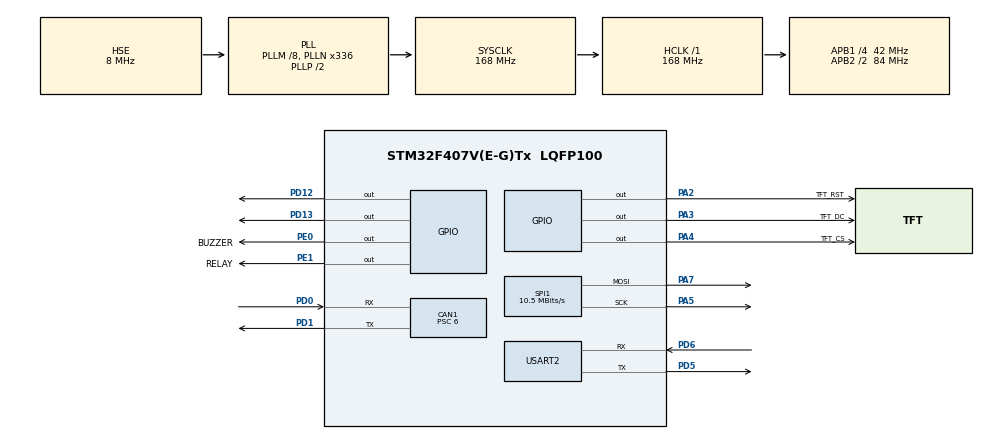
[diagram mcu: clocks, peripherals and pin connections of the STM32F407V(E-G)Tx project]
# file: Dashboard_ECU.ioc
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CAN1.ABOM=ENABLE
CAN1.BS1=CAN_BS1_11TQ
CAN1.BS2=CAN_BS2_2TQ
CAN1.CalculateBaudRate=500000
CAN1.CalculateTimeBit=2000
CAN1.CalculateTimeQuantum=142.85714285714286
CAN1.NART=ENABLE
CAN1.Prescaler=6
FREERTOS.Tasks01=TFTTask,24,512,StartDefaultTask,Default,NULL,Dynamic,NULL,NULL;ThreshTask,32,256,Task_ThresholdCheck,Default,NULL,Dynamic,NULL,NULL;BuzzTask,32,512,Task_BuzzerHandler,Default,NULL,Dynamic,NULL,NULL
Mcu.Family=STM32F4
Mcu.Name=STM32F407V(E-G)Tx
Mcu.Package=LQFP100
NVIC.CAN1_RX0_IRQn=true\:5\:0\:false\:false\:true\:true\:true\:true\:true
NVIC.PriorityGroup=NVIC_PRIORITYGROUP_4
PA13.Mode=Serial_Wire
PA13.Signal=SYS_JTMS-SWDIO
PA14.Mode=Serial_Wire
PA14.Signal=SYS_JTCK-SWCLK
PA2.GPIO_Label=TFT_RST
PA2.Signal=GPIO_Output
PA3.GPIO_Label=TFT_DC
PA3.Signal=GPIO_Output
PA4.GPIO_Label=TFT_CS
PA4.Signal=GPIO_Output
PA5.Mode=TX_Only_Simplex_Unidirect_Master
PA5.Signal=SPI1_SCK
PA7.Mode=TX_Only_Simplex_Unidirect_Master
PA7.Signal=SPI1_MOSI
PD0.Mode=CAN_Activate
PD0.Signal=CAN1_RX
PD1.Mode=CAN_Activate
PD1.Signal=CAN1_TX
PD12.Signal=GPIO_Output
PD13.Signal=GPIO_Output
PD5.Mode=Asynchronous
PD5.Signal=USART2_TX
PD6.Mode=Asynchronous
PD6.Signal=USART2_RX
PE0.GPIO_Label=BUZZER
PE0.Signal=GPIO_Output
PE1.GPIO_Label=RELAY
PE1.Signal=GPIO_Output
PH0-OSC_IN.Mode=HSE-External-Oscillator
PH0-OSC_IN.Signal=RCC_OSC_IN
PH1-OSC_OUT.Mode=HSE-External-Oscillator
PH1-OSC_OUT.Signal=RCC_OSC_OUT
ProjectManager.HeapSize=0x200
ProjectManager.StackSize=0x400
ProjectManager.TargetToolchain=STM32CubeIDE
RCC.48MHZClocksFreq_Value=48000000
RCC.AHBFreq_Value=168000000
RCC.APB1CLKDivider=RCC_HCLK_DIV4
RCC.APB1Freq_Value=42000000
RCC.APB1TimFreq_Value=84000000
RCC.APB2CLKDivider=RCC_HCLK_DIV2
RCC.APB2Freq_Value=84000000
RCC.APB2TimFreq_Value=168000000
RCC.CortexFreq_Value=168000000
RCC.HCLKFreq_Value=168000000
RCC.HSE_VALUE=8000000
RCC.HSI_VALUE=16000000
RCC.LSE_VALUE=32768
RCC.PLLM=8
RCC.PLLN=336
RCC.PLLQ=7
RCC.PLLSourceVirtual=RCC_PLLSOURCE_HSE
RCC.SYSCLKFreq_VALUE=168000000
RCC.SYSCLKSource=RCC_SYSCLKSOURCE_PLLCLK
RCC.VCOOutputFreq_Value=336000000
SPI1.BaudRatePrescaler=SPI_BAUDRATEPRESCALER_8
SPI1.CalculateBaudRate=10.5 MBits/s
SPI1.Direction=SPI_DIRECTION_2LINES
SPI1.Mode=SPI_MODE_MASTER
SPI1.VirtualType=VM_MASTER
USART2.VirtualMode=VM_ASYNC
VP_FREERTOS_VS_CMSIS_V2.Mode=CMSIS_V2
board=STM32F407G-DISC1

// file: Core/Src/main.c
/* USER CODE BEGIN Header */
/**
  ******************************************************************************
  * @file           : main.c
  * @brief          : Dashboard ECU — Board 2 — STM32F407 Discovery
  * Version 2.2 - Fixed Linker Conflict (Multiple Definition Error)
  ******************************************************************************
  */
/* USER CODE END Header */

#include "main.h"
#include "cmsis_os.h"
#include "can.h"
#include "spi.h"
#include "usart.h"
#include "gpio.h"

/* USER CODE BEGIN Includes */
#include <stdio.h>
#include <string.h>
#include "st7735.h"
#include "fonts.h"
/* USER CODE END Includes */

/* USER CODE BEGIN PV */
volatile uint16_t rxRPM     = 0;
volatile uint8_t  rxSpeed   = 0;
volatile float    rxTemp    = 0.0f;
volatile uint8_t  rxRelay   = 0;
volatile uint8_t  faultCode = 0;
volatile uint8_t  frameCount = 0;

osThreadId_t tftTaskHandle;
osThreadId_t thresholdTaskHandle;
osThreadId_t buzzerTaskHandle;

volatile uint8_t buzzerFlag  = 0;
volatile uint8_t buzzerBeeps = 0;

char dtcString[20] = "NONE";
char statusString[20] = "NORMAL";
/* USER CODE END PV */

void SystemClock_Config(void);
void MX_FREERTOS_Init(void);

/* Renamed to avoid conflicts with freertos.c generated by CubeMX */
void User_Task_TFT_Update(void *argument);
void User_Task_ThresholdCheck(void *argument);
void User_Task_BuzzerHandler(void *argument);

void TFT_DrawDashboard(void);
void TFT_UpdateValues(void);
void UART_Log(char *msg);

/* USER CODE BEGIN 0 */
void UART_Log(char *msg)
{
  HAL_UART_Transmit(&huart2, (uint8_t*)msg, strlen(msg), 100);
}

void TFT_DrawDashboard(void)
{
  ST7735_FillScreen(ST7735_BLACK);
  ST7735_FillRectangle(0, 0, 160, 18, ST7735_BLUE);
  ST7735_WriteString(10, 4, "ECU DASHBOARD V2.2", ST7735_WHITE, ST7735_BLUE);
  ST7735_DrawRectangle(2, 22, 76, 50, ST7735_CYAN);
  ST7735_WriteString(5, 25, "RPM", ST7735_CYAN, ST7735_BLACK);
  ST7735_DrawRectangle(82, 22, 76, 50, ST7735_GREEN);
  ST7735_WriteString(85, 25, "SPEED", ST7735_GREEN, ST7735_BLACK);
  ST7735_DrawRectangle(2, 76, 76, 50, ST7735_RED);
  ST7735_WriteString(5, 79, "TEMP C", ST7735_RED, ST7735_BLACK);
  ST7735_DrawRectangle(82, 76, 76, 50, ST7735_YELLOW);
  ST7735_WriteString(85, 79, "STATUS", ST7735_YELLOW, ST7735_BLACK);
  ST7735_FillRectangle(0, 130, 160, 28, ST7735_DARKGREY);
  ST7735_WriteString(5, 134, "CAN: 500kbps", ST7735_WHITE, ST7735_DARKGREY);
}

void TFT_UpdateValues(void)
{
  char buf[16];
  if(rxRPM == 0xFFFF) sprintf(buf, "FAULT");
  else sprintf(buf, "%-5d", rxRPM);
  ST7735_FillRectangle(4, 38, 72, 18, ST7735_BLACK);
  ST7735_WriteString(4, 38, buf, ST7735_CYAN, ST7735_BLACK);
  sprintf(buf, "%3d km/h", rxSpeed);
  ST7735_FillRectangle(84, 38, 72, 18, ST7735_BLACK);
  ST7735_WriteString(84, 38, buf, ST7735_GREEN, ST7735_BLACK);
  sprintf(buf, "%5.1f", rxTemp);
  ST7735_FillRectangle(4, 92, 72, 18, ST7735_BLACK);
  ST7735_WriteString(4, 92, buf, ST7735_RED, ST7735_BLACK);
  ST7735_FillRectangle(84, 92, 72, 18, ST7735_BLACK);
  uint16_t statusColor = (faultCode > 0) ? ST7735_RED : ST7735_GREEN;
  ST7735_WriteString(84, 92, dtcString, statusColor, ST7735_BLACK);
  sprintf(buf, "FR:%d", frameCount);
  ST7735_FillRectangle(95, 134, 60, 12, ST7735_DARKGREY);
  ST7735_WriteString(95, 134, buf, ST7735_WHITE, ST7735_DARKGREY);
}
/* USER CODE END 0 */

int main(void)
{
  HAL_Init();
  SystemClock_Config();
  MX_GPIO_Init();
  MX_SPI1_Init();
  MX_CAN1_Init();
  MX_USART2_UART_Init();

  CAN_FilterTypeDef filter;
  filter.FilterBank           = 0;
  filter.FilterMode           = CAN_FILTERMODE_IDMASK;
  filter.FilterScale          = CAN_FILTERSCALE_32BIT;
  filter.FilterIdHigh         = 0x0000;
  filter.FilterIdLow          = 0x0000;
  filter.FilterMaskIdHigh     = 0x0000;
  filter.FilterMaskIdLow      = 0x0000;
  filter.FilterFIFOAssignment = CAN_RX_FIFO0;
  filter.FilterActivation     = ENABLE;
  HAL_CAN_ConfigFilter(&hcan1, &filter);
  HAL_CAN_Start(&hcan1);
  HAL_CAN_ActivateNotification(&hcan1, CAN_IT_RX_FIFO0_MSG_PENDING);

  ST7735_Init();
  TFT_DrawDashboard();

  osKernelInitialize();

  /* Note the updated task function names below */
  tftTaskHandle = osThreadNew(User_Task_TFT_Update, NULL, &(osThreadAttr_t){.name = "TFTTask", .stack_size = 512, .priority = osPriorityNormal});
  thresholdTaskHandle = osThreadNew(User_Task_ThresholdCheck, NULL, &(osThreadAttr_t){.name = "ThreshTask", .stack_size = 512, .priority = osPriorityAboveNormal});
  buzzerTaskHandle = osThreadNew(User_Task_BuzzerHandler, NULL, &(osThreadAttr_t){.name = "BuzzTask", .stack_size = 256, .priority = osPriorityNormal});

  osKernelStart();
  while (1) {}
}

/* Renamed Task Implementations */
void User_Task_TFT_Update(void *argument)
{
  for(;;)
  {
    TFT_UpdateValues();
    osDelay(100);
  }
}

void User_Task_ThresholdCheck(void *argument)
{
  for(;;)
  {
    if(rxRPM == 0xFFFF)
    {
      strcpy(dtcString, "P0335-FAIL");
      faultCode = 1;
    }
    else if(rxTemp > 40.0f)
    {
      strcpy(dtcString, "P0217-HOT");
      faultCode = 1;
    }
    else
    {
      strcpy(dtcString, "SYSTEM-OK");
      faultCode = 0;
    }
    osDelay(50);
  }
}

void User_Task_BuzzerHandler(void *argument)
{
  for(;;)
  {
    if(buzzerFlag)
    {
      uint8_t count = buzzerBeeps;
      buzzerFlag = 0;
      for(uint8_t i = 0; i < count; i++)
      {
        HAL_GPIO_WritePin(GPIOE, GPIO_PIN_0, GPIO_PIN_SET);
        osDelay(150);
        HAL_GPIO_WritePin(GPIOE, GPIO_PIN_0, GPIO_PIN_RESET);
        osDelay(100);
      }
    }
    osDelay(10);
  }
}

void HAL_CAN_RxFifo0MsgPendingCallback(CAN_HandleTypeDef *hcan)
{
  CAN_RxHeaderTypeDef rxHeader;
  uint8_t rxData[8];
  if (HAL_CAN_GetRxMessage(hcan, CAN_RX_FIFO0, &rxHeader, rxData) != HAL_OK) return;
  frameCount++;
  switch(rxHeader.StdId)
  {
    case 0x100: rxRPM = ((uint16_t)rxData[0] << 8) | rxData[1]; break;
    case 0x101: rxSpeed = rxData[0]; break;
    case 0x102: rxTemp = (((uint16_t)rxData[0] << 8) | rxData[1]) / 10.0f; break;
    case 0x103: rxRelay = rxData[0]; HAL_GPIO_WritePin(GPIOE, GPIO_PIN_1, rxData[0] ? GPIO_PIN_SET : GPIO_PIN_RESET); break;
    case 0x1FF:
    {
      uint16_t code = ((uint16_t)rxData[1] << 8) | rxData[2];
      if(code == 0x0335) strcpy(dtcString, "P0335-DTC");
      else if(code == 0x0217) strcpy(dtcString, "P0217-DTC");
      faultCode = 1; buzzerFlag = 1; buzzerBeeps = 3;
      break;
    }
  }
}

void SystemClock_Config(void)
{
  RCC_OscInitTypeDef RCC_OscInitStruct = {0};
  RCC_ClkInitTypeDef RCC_ClkInitStruct = {0};
  __HAL_RCC_PWR_CLK_ENABLE();
  __HAL_PWR_VOLTAGESCALING_CONFIG(PWR_REGULATOR_VOLTAGE_SCALE1);
  RCC_OscInitStruct.OscillatorType = RCC_OSCILLATORTYPE_HSE;
  RCC_OscInitStruct.HSEState = RCC_HSE_ON;
  RCC_OscInitStruct.PLL.PLLState = RCC_PLL_ON;
  RCC_OscInitStruct.PLL.PLLSource = RCC_PLLSOURCE_HSE;
  RCC_OscInitStruct.PLL.PLLM = 8;
  RCC_OscInitStruct.PLL.PLLN = 336;
  RCC_OscInitStruct.PLL.PLLP = RCC_PLLP_DIV2;
  RCC_OscInitStruct.PLL.PLLQ = 7;
  HAL_RCC_OscConfig(&RCC_OscInitStruct);
  RCC_ClkInitStruct.ClockType = RCC_CLOCKTYPE_HCLK|RCC_CLOCKTYPE_SYSCLK|RCC_CLOCKTYPE_PCLK1|RCC_CLOCKTYPE_PCLK2;
  RCC_ClkInitStruct.SYSCLKSource = RCC_SYSCLKSOURCE_PLLCLK;
  RCC_ClkInitStruct.AHBCLKDivider = RCC_SYSCLK_DIV1;
  RCC_ClkInitStruct.APB1CLKDivider = RCC_HCLK_DIV4;
  RCC_ClkInitStruct.APB2CLKDivider = RCC_HCLK_DIV2;
  HAL_RCC_ClockConfig(&RCC_ClkInitStruct, FLASH_LATENCY_5);
}

void Error_Handler(void)
{
  __disable_irq();
  while (1) {}
}

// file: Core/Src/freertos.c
/* USER CODE BEGIN Header */
/**
  ******************************************************************************
  * File Name          : freertos.c
  * Description        : Code for freertos applications
  ******************************************************************************
  * @attention
  *
  * Copyright (c) 2026 STMicroelectronics.
  * All rights reserved.
  *
  * This software is licensed under terms that can be found in the LICENSE file
  * in the root directory of this software component.
  * If no LICENSE file comes with this software, it is provided AS-IS.
  *
  ******************************************************************************
  */
/* USER CODE END Header */

#include "FreeRTOS.h"
#include "task.h"
#include "main.h"
#include "cmsis_os.h"

/* Definitions for TFTTask */
osThreadId_t TFTTaskHandle;
const osThreadAttr_t TFTTask_attributes = {
  .name = "TFTTask",
  .stack_size = 512 * 4,
  .priority = (osPriority_t) osPriorityNormal,
};
/* Definitions for ThreshTask */
osThreadId_t ThreshTaskHandle;
const osThreadAttr_t ThreshTask_attributes = {
  .name = "ThreshTask",
  .stack_size = 256 * 4,
  .priority = (osPriority_t) osPriorityAboveNormal,
};
/* Definitions for BuzzTask */
osThreadId_t BuzzTaskHandle;
const osThreadAttr_t BuzzTask_attributes = {
  .name = "BuzzTask",
  .stack_size = 512 * 4,
  .priority = (osPriority_t) osPriorityAboveNormal,
};

void StartDefaultTask(void *argument);
void Task_ThresholdCheck(void *argument);
void Task_BuzzerHandler(void *argument);

void MX_FREERTOS_Init(void); /* (MISRA C 2004 rule 8.1) */

void MX_FREERTOS_Init(void) {

  /* Create the thread(s) */
  /* creation of TFTTask */
  TFTTaskHandle = osThreadNew(StartDefaultTask, NULL, &TFTTask_attributes);

  /* creation of ThreshTask */
  ThreshTaskHandle = osThreadNew(Task_ThresholdCheck, NULL, &ThreshTask_attributes);

  /* creation of BuzzTask */
  BuzzTaskHandle = osThreadNew(Task_BuzzerHandler, NULL, &BuzzTask_attributes);

}

void StartDefaultTask(void *argument)
{
  for(;;)
  {
    osDelay(1);
  }
}

void Task_ThresholdCheck(void *argument)
{
  for(;;)
  {
    osDelay(1);
  }
}

void Task_BuzzerHandler(void *argument)
{
  for(;;)
  {
    osDelay(1);
  }
}
